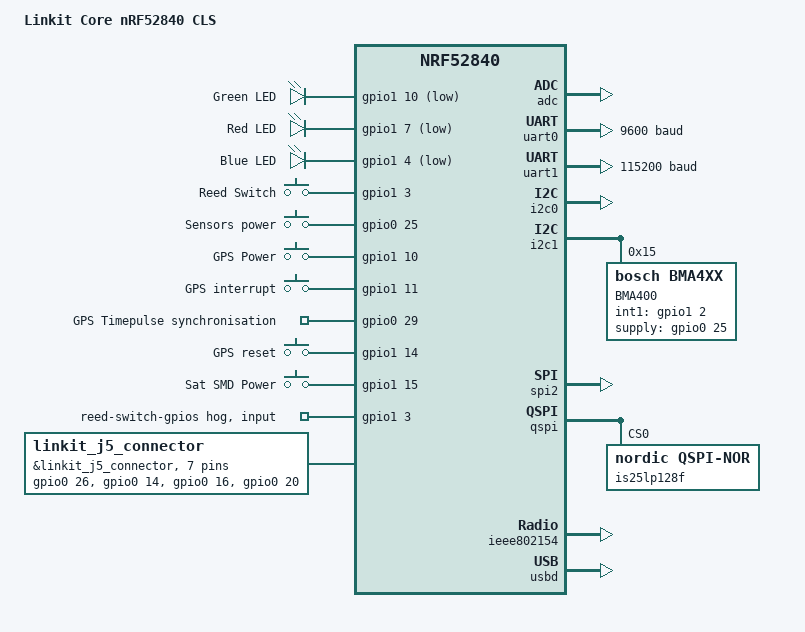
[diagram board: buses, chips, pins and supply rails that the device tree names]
/*
 * Copyright (c) 2024 Open Pixel Systems
 *
 * SPDX-License-Identifier: Apache-2.0
 */

/*
 * Copyright (c) 2020 Tobias Svehagen
 *
 * SPDX-License-Identifier: Apache-2.0
 */

//  /dts-v1/;
//  #include <nordic/nrf52840_qiaa.dtsi>
//  #include "linkit_connector.dtsi"
//  #include "linkit_core_nrf52840-pinctrl.dtsi"
//  #include <zephyr/dt-bindings/input/input-event-codes.h>
//  /
/ {
    model = "Linkit Core nRF52840 CLS";
    compatible = "arribada,linkit-core-nrf52840";

    chosen {
        zephyr,console = &uart1;
        zephyr,shell-uart = &uart1;
        //zephyr,uart-mcumgr = &uart1;
        //zephyr,bt-mon-uart = &uart1;
        //zephyr,bt-c2h-uart = &uart1;
        zephyr,sram = &sram0;
        zephyr,flash = &flash0;
        zephyr,code-partition = &slot0_partition;
        zephyr,ieee802154 = &ieee802154;
    };

    leds {
        compatible = "gpio-leds";
        led0: led_0 {
            gpios = <&gpio1 10 GPIO_ACTIVE_LOW>;
            label = "Green LED";
        };
        led1: led_1 {
            gpios = <&gpio1 7 GPIO_ACTIVE_LOW>;
            label = "Red LED";
        };
        led2: led_2 {
            gpios = <&gpio1 4 GPIO_ACTIVE_LOW>;
            label = "Blue LED";
        };
    };
    
    gpio_keys {
        compatible = "gpio-keys";
        reed_switch: reed_switch {
            gpios = <&gpio1 3 (GPIO_ACTIVE_HIGH)>;
            label = "Reed Switch";
        };
        sensors_pwr: sensors_pwr {
            gpios = <&gpio0 25 (GPIO_ACTIVE_HIGH)>;
            label = "Sensors power";
        };
        gps_pwr: gps_pwr {
            gpios = <&gpio1 10 (GPIO_ACTIVE_HIGH)>;
            label = "GPS Power";
        };
        gps_int: gps_int {
            gpios = <&gpio1 11 (GPIO_ACTIVE_HIGH)>;
            label = "GPS interrupt";
        };
        gps_timepulse: gps_timepulse {
            gpios = <&gpio0 29 (GPIO_ACTIVE_HIGH)>;
            label = "GPS Timepulse synchronisation";
        };
        gps_rst: gps_rst {
            gpios = <&gpio1 14 (GPIO_ACTIVE_HIGH)>;
            label = "GPS reset";
        };
        smd_pwr: smd_pwr {
            gpios = <&gpio1 15 (GPIO_ACTIVE_HIGH)>;
            label = "Sat SMD Power";
        };
    };

    vbatt {
        status = "disabled";
        compatible = "voltage-divider";
        io-channels = <&adc 0>;
        output-ohms = <100000>;
        full-ohms = <(100000 + 100000)>;
    };

    aliases {
        ledg = &led0;
        ledr = &led1;
        ledb = &led2;
        watchdog0 = &wdt0;
        spi-flash0 = &is25lp128f;
        artic-spi = &spi2;
        ext-i2c = &i2c0;
        in-i2c = &i2c1;
        uart-gnss = &uart0;
        uart-log = &uart1;
        reed-switch = &reed_switch;
        sensors-pwr = &sensors_pwr;
        gps-pwr = &gps_pwr;
        smd-pwr = &smd_pwr;
        gps-int = &gps_int;
        gps-timepulse = &gps_timepulse;
        gps-rst = &gps_rst;
        accel0 = &bma4xx;
    };
};

&adc {
    status = "okay";
};

&gpiote {
    status = "okay";
};

&gpio0 {
    status = "okay";
};

&gpio1 {
    status = "okay";
    interrupts = <1 NRF_DEFAULT_IRQ_PRIORITY>;
    reed-switch-gpios {
        gpio-hog;
        gpios = <3 GPIO_ACTIVE_HIGH>;
        input;
    };
};

&uart0 {
    compatible = "nordic,nrf-uart";
    status = "okay";
    current-speed = <9600>;
    pinctrl-0 = <&uart0_default>;
    pinctrl-1 = <&uart0_sleep>;
    pinctrl-names = "default", "sleep";
};

&uart1 {
    //compatible = "nordic,nrf-uart";
    status = "okay";
    current-speed = <115200>;
    pinctrl-0 = <&uart1_default>;
    pinctrl-1 = <&uart1_sleep>;
    pinctrl-names = "default", "sleep";
};

&i2c0 {
    compatible = "nordic,nrf-twi";
    status = "okay";
    //clock-frequency = <I2C_BITRATE_FAST>;
    pinctrl-0 = <&i2c0_default>;
    pinctrl-1 = <&i2c0_sleep>;
    pinctrl-names = "default", "sleep";
};

&i2c1 {
    // compatible = "nordic,nrf-twi";
    status = "okay";
    // clock-frequency = <I2C_BITRATE_FAST>;
    pinctrl-0 = <&i2c1_default>;
    pinctrl-1 = <&i2c1_sleep>;
    pinctrl-names = "default", "sleep";
    bma4xx: bma4xx@15 {
        status = "okay";
        compatible = "bosch,bma4xx";
        reg = <0x15>;
        int1-gpios = <&gpio1 2 (GPIO_ACTIVE_HIGH)>;
        supply-gpios = <&gpio0 25 (GPIO_ACTIVE_HIGH)>;
        friendly-name = "BMA400";
        label = "BMA400";
    };
};

    &spi2 {
    compatible = "nordic,nrf-spi";
    status = "okay";
    pinctrl-0 = <&spi2_default>;
    pinctrl-1 = <&spi2_sleep>;
    pinctrl-names = "default", "sleep";
};

&qspi {
    status = "okay";
    pinctrl-0 = <&qspi_default>;
    pinctrl-1 = <&qspi_sleep>;
    pinctrl-names = "default", "sleep";

    is25lp128f: is25lp128f@0 {
        compatible = "nordic,qspi-nor";
        reg = <0>;
        writeoc = "pp4o";
        readoc = "read4io";
        sck-frequency = <32000000>;
        // sfdp-bfp = [
        // e5 20 f1 ff  ff ff ff 03  44 eb 08 6b  08 3b 04 bb
        // ee ff ff ff  ff ff 00 ff  ff ff 00 ff  0c 20 0f 52
        // 10 d8 00 ff  23 72 f5 00  82 ed 04 cc  44 83 68 44
        // 30 b0 30 b0  f7 c4 d5 5c  00 be 29 ff  f0 d0 ff ff
        // ];
        quad-enable-requirements = "S1B6";
        jedec-id = [9d 60 18];
        size = <134217728>;
        has-dpd;
        t-enter-dpd = <3000>;
        t-exit-dpd = <5000>;
    };
};
&flash0 {
    partitions {
        compatible = "fixed-partitions";
        #address-cells = <1>;
        #size-cells = <1>;

        boot_partition: partition@0 {
            label = "mcuboot";
            reg = <0x00000000 0x0000C000>;
        };
        slot0_partition: partition@c000 {
            label = "image-0";
            reg = <0x0000C000 0x00067000>;
        };
        slot1_partition: partition@73000 {
            label = "image-1";
            reg = <0x00073000 0x00067000>;
        };
        scratch_partition: partition@da000 {
            label = "image-scratch";
            reg = <0x000da000 0x0001e000>;
        };
        storage_partition: partition@f8000 {
            label = "storage";
            reg = <0x000f8000 0x00008000>; 
        };
    };
};
/* /delete-node/ &storage_partition;
&is25lp128f {
    partitions {
        compatible = "fixed-partitions";
        #address-cells = <1>;
        #size-cells = <1>;partition@40000 {
            label = "storage";
            reg = <0x00040000 0x00020000>;
        };
    };
};

 */

&ieee802154 {
    status = "okay";
};

zephyr_udc0: &usbd {
    compatible = "nordic,nrf-usbd";
    status = "okay";
};

&linkit_j5_connector {
   gpio-map = <0 0 &gpio0 26 0>,
              <1 0 &gpio0 14 0>,
              <2 0 &gpio0 16 0>,
              <3 0 &gpio0 20 0>,
              <4 0 &gpio1 14 0>,
              <5 0 &gpio1 13 0>,
              <6 0 &gpio1 1 0>;
};
